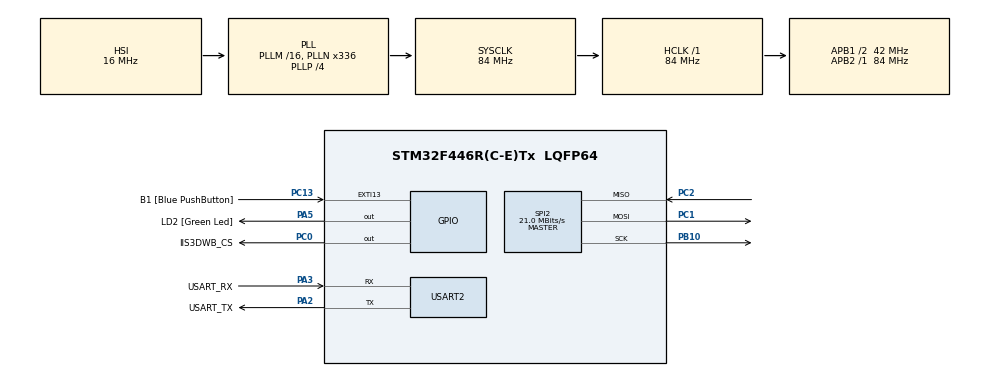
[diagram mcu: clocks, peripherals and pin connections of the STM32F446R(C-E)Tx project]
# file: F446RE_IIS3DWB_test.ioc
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Mcu.Family=STM32F4
Mcu.Name=STM32F446R(C-E)Tx
Mcu.Package=LQFP64
NVIC.PriorityGroup=NVIC_PRIORITYGROUP_0
PA13.GPIO_Label=TMS
PA13.Mode=Serial_Wire
PA13.Signal=SYS_JTMS-SWDIO
PA14.GPIO_Label=TCK
PA14.Mode=Serial_Wire
PA14.Signal=SYS_JTCK-SWCLK
PA2.GPIO_Label=USART_TX
PA2.Mode=Asynchronous
PA2.Signal=USART2_TX
PA3.GPIO_Label=USART_RX
PA3.Mode=Asynchronous
PA3.Signal=USART2_RX
PA5.GPIO_Label=LD2 [Green Led]
PA5.Signal=GPIO_Output
PB10.Mode=Full_Duplex_Master
PB10.Signal=SPI2_SCK
PB3.GPIO_Label=SWO
PB3.Signal=SYS_JTDO-SWO
PC0.GPIO_Label=IIS3DWB_CS
PC0.GPIO_ModeDefaultOutputPP=GPIO_MODE_OUTPUT_OD
PC0.GPIO_PuPd=GPIO_NOPULL
PC0.GPIO_Speed=GPIO_SPEED_FREQ_VERY_HIGH
PC0.PinState=GPIO_PIN_SET
PC0.Signal=GPIO_Output
PC1.Mode=Full_Duplex_Master
PC1.Signal=SPI2_MOSI
PC13.GPIO_Label=B1 [Blue PushButton]
PC13.GPIO_ModeDefaultEXTI=GPIO_MODE_IT_FALLING
PC13.Signal=GPXTI13
PC14-OSC32_IN.Mode=LSE-External-Oscillator
PC14-OSC32_IN.Signal=RCC_OSC32_IN
PC15-OSC32_OUT.Mode=LSE-External-Oscillator
PC15-OSC32_OUT.Signal=RCC_OSC32_OUT
PC2.Mode=Full_Duplex_Master
PC2.Signal=SPI2_MISO
PH0-OSC_IN.Mode=HSE-External-Oscillator
PH0-OSC_IN.Signal=RCC_OSC_IN
PH1-OSC_OUT.Mode=HSE-External-Oscillator
PH1-OSC_OUT.Signal=RCC_OSC_OUT
ProjectManager.HeapSize=0x200
ProjectManager.StackSize=0x400
ProjectManager.TargetToolchain=STM32CubeIDE
RCC.48MHZClocksFreq_Value=84000000
RCC.AHBFreq_Value=84000000
RCC.APB1CLKDivider=RCC_HCLK_DIV2
RCC.APB1Freq_Value=42000000
RCC.APB1TimFreq_Value=84000000
RCC.APB2Freq_Value=84000000
RCC.APB2TimFreq_Value=84000000
RCC.CortexFreq_Value=84000000
RCC.FLatency-AdvancedSettings=FLASH_LATENCY_2
RCC.HCLKFreq_Value=84000000
RCC.HSE_VALUE=8000000
RCC.HSI_VALUE=16000000
RCC.PLLN=336
RCC.PLLP=RCC_PLLP_DIV4
RCC.SYSCLKFreq_VALUE=84000000
RCC.SYSCLKSource=RCC_SYSCLKSOURCE_PLLCLK
RCC.USBFreq_Value=168000000
RCC.VCOOutputFreq_Value=336000000
SPI2.BaudRatePrescaler=SPI_BAUDRATEPRESCALER_2
SPI2.CLKPhase=SPI_PHASE_2EDGE
SPI2.CLKPolarity=SPI_POLARITY_LOW
SPI2.CalculateBaudRate=21.0 MBits/s
SPI2.Direction=SPI_DIRECTION_2LINES
SPI2.Mode=SPI_MODE_MASTER
SPI2.VirtualType=VM_MASTER
TIM13.Period=65536 - 1
TIM13.Prescaler=84 - 1
USART2.Parity=PARITY_EVEN
USART2.VirtualMode=VM_ASYNC
VP_TIM13_VS_ClockSourceINT.Mode=Enable_Timer
board=NUCLEO-F446RE

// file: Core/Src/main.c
/* USER CODE BEGIN Header */
/**
 ******************************************************************************
 * @file           : main.c
 * @brief          : Main program body
 ******************************************************************************
 * @attention
 *
 * Copyright (c) 2021 STMicroelectronics.
 * All rights reserved.
 *
 * This software is licensed under terms that can be found in the LICENSE file
 * in the root directory of this software component.
 * If no LICENSE file comes with this software, it is provided AS-IS.
 *
 ******************************************************************************
 */
/* USER CODE END Header */
#include "main.h"

/* USER CODE BEGIN Includes */

#include <string.h>
#include <stdio.h>

#define ARM_MATH_CM4
#include "arm_math.h"
#include "iis3dwb_reg.h"

/* USER CODE END Includes */

/* USER CODE BEGIN PM */
#define    BOOT_TIME        10 //ms

/* USER CODE END PM */

SPI_HandleTypeDef hspi2;

TIM_HandleTypeDef htim13;

UART_HandleTypeDef huart2;

/* USER CODE BEGIN PV */

static int16_t data_raw_acceleration[3];
static int16_t data_raw_temperature;
static float acceleration_mg[3];
static float temperature_degC;
static uint8_t whoamI, rst;
static uint8_t tx_buffer[1000];
char dev_id [8];

uint16_t rxBuf[16384];
uint16_t txBuf[16384];

char rxBufstr[16384];
char stringBuff[100];

float fft_in_buf[2048];
float fft_out_buf[2048];

arm_rfft_fast_instance_f32 fft_handler;

float real_fsample = 46875;
uint8_t callback_state = 0;
uint8_t outarray[14];
uint8_t uartfree = 1;

/* USER CODE END PV */

void SystemClock_Config(void);
static void MX_GPIO_Init(void);
static void MX_USART2_UART_Init(void);
static void MX_SPI2_Init(void);
static void MX_TIM13_Init(void);
/* USER CODE BEGIN PFP */

static int32_t platform_write(void *handle, uint8_t reg, const uint8_t *bufp,
		uint16_t len);
static int32_t platform_read(void *handle, uint8_t reg, uint8_t *bufp,
		uint16_t len);
static void tx_com( uint8_t *tx_buffer, uint16_t len );
static void tx_com_ziyad( uint8_t *tx_buffer, uint16_t len );
static void platform_delay(uint32_t ms);
static void platform_init(void);
void DoFFT();

/* USER CODE END PFP */

int main(void)
{
	/* USER CODE BEGIN 1 */
	char uart_buf[50];
	int uart_buf_len;
	uint16_t timer_val;

	/* USER CODE END 1 */

	/* MCU Configuration--------------------------------------------------------*/

	/* Reset of all peripherals, Initializes the Flash interface and the Systick. */
	HAL_Init();

	/* Configure the system clock */
	SystemClock_Config();

	/* Initialize all configured peripherals */
	MX_GPIO_Init();
	MX_USART2_UART_Init();
	MX_SPI2_Init();
	MX_TIM13_Init();
	/* USER CODE BEGIN 2 */

	HAL_UART_Transmit(&huart2, "\nInit ... \r\n", 10, 100);

	// Say something
	uart_buf_len = sprintf(uart_buf, "Timer test\r\n");
	HAL_UART_Transmit(&huart2, (uint8_t *)uart_buf, uart_buf_len, 100);

	// Start timer
	HAL_TIM_Base_Start(&htim13);

	stmdev_ctx_t dev_ctx;

	/* Initialize mems driver interface */
	dev_ctx.write_reg = platform_write;
	dev_ctx.read_reg = platform_read;
	dev_ctx.handle = &hspi2; //&SENSOR_BUS;

	/* Init test platform */
	platform_init();

	/* Wait sensor boot time */
	platform_delay(BOOT_TIME);

	/* Check device ID */
	iis3dwb_device_id_get(&dev_ctx, &whoamI);

	if (whoamI != IIS3DWB_ID)
		while (1);

	sprintf(dev_id, "%u", whoamI);

	HAL_UART_Transmit(&huart2, dev_id, 10, 100);

	HAL_Delay(50);

	/* Restore default configuration */
	iis3dwb_reset_set(&dev_ctx, PROPERTY_ENABLE);

	do {
		iis3dwb_reset_get(&dev_ctx, &rst);
	} while (rst);

	/* Enable Block Data Update */
	iis3dwb_block_data_update_set(&dev_ctx, PROPERTY_ENABLE);

	/* Set Output Data Rate */
	iis3dwb_xl_data_rate_set(&dev_ctx, IIS3DWB_XL_ODR_26k7Hz);

	/* Set full scale */
	iis3dwb_xl_full_scale_set(&dev_ctx, IIS3DWB_2g);

	/* Configure filtering chain(No aux interface)
	 * Accelerometer low pass filter path
	 */
	iis3dwb_xl_filt_path_on_out_set(&dev_ctx, IIS3DWB_LP_ODR_DIV_100);

	HAL_Delay(5000);

	arm_rfft_fast_init_f32(&fft_handler, 2048);

	/* USER CODE END 2 */

	/* Infinite loop */
	/* USER CODE BEGIN WHILE */

	while (1)
	{
		// Get current time (microseconds)
		timer_val = __HAL_TIM_GET_COUNTER(&htim13);

		uint8_t reg;

		/* Read output only if new xl value is available */
		iis3dwb_xl_flag_data_ready_get(&dev_ctx, &reg);

		if (reg) {
			/* Read acceleration field data */
			memset(data_raw_acceleration, 0x00, 3 * sizeof(int16_t));

			iis3dwb_acceleration_raw_get(&dev_ctx, data_raw_acceleration);

			acceleration_mg[0] =
					iis3dwb_from_fs2g_to_mg(data_raw_acceleration[0]);

			acceleration_mg[1] =
					iis3dwb_from_fs2g_to_mg(data_raw_acceleration[1]);

			acceleration_mg[2] =
					iis3dwb_from_fs2g_to_mg(data_raw_acceleration[2]);

			/*
			// Fill the buffer with "x axis" acceleration data
			for (int i = 0; i < 8192; ++i) {
				// Read acceleration field data
				memset(data_raw_acceleration, 0x00, 3 * sizeof(int16_t));

				iis3dwb_acceleration_raw_get(&dev_ctx, data_raw_acceleration);

				acceleration_mg[0] = iis3dwb_from_fs2g_to_mg(data_raw_acceleration[0]);
				rxBuf[i] = (int)acceleration_mg[0];
				callback_state = 1;
			}

			for (int i = 0; i < rxBuf[i]; ++i) {
				sprintf(&rxBufstr, "%d", rxBuf[i]);
				sprintf(&stringBuff, "%s %d", "\nAcceleration : ", rxBuf[i] );
				// HAL_UART_Transmit(&huart2, stringBuff, sizeof(rxBufstr), 100);
			}

			//do audio loopback and push mono-sum to fft_in_buf
			int fft_in_ptr = 0;
			if (callback_state == 1) {
				for (int i=0; i<8192; i=i+4) {
					fft_in_buf[fft_in_ptr] = (float) ((int) (rxBuf[i]<<16)|rxBuf[i+1]);
					fft_in_buf[fft_in_ptr] += (float) ((int) (rxBuf[i+2]<<16)|rxBuf[i+3]);
					txBuf[i] = rxBuf[i];
					txBuf[i+1] = rxBuf[i+1];
					txBuf[i+2] = rxBuf[i+2];
					txBuf[i+3] = rxBuf[i+3];
					fft_in_ptr++;
				}
				DoFFT();
			}

			if (callback_state == 2) {
				for (int i=8192; i<16384; i=i+4) {
					fft_in_buf[fft_in_ptr] = (float) ((int) (rxBuf[i]<<16)|rxBuf[i+1]);
					fft_in_buf[fft_in_ptr] += (float) ((int) (rxBuf[i+2]<<16)|rxBuf[i+3]);
					txBuf[i] = rxBuf[i];
					txBuf[i+1] = rxBuf[i+1];
					txBuf[i+2] = rxBuf[i+2];
					txBuf[i+3] = rxBuf[i+3];
					fft_in_ptr++;
				}
				DoFFT();
			}
*/
		}
/*
		// Display acceleration results
		sprintf((char *)tx_buffer,
				"\nAcceleration [mg] : %6.2f    %6.2f    %6.2f\r\n",
				acceleration_mg[0], acceleration_mg[1], acceleration_mg[2]);

		HAL_UART_AbortTransmit(&huart2);

		tx_com_ziyad(tx_buffer, strlen((char const *)tx_buffer));
*/
		/*
		// Display FFT results frame | it takes ~10 000 microseconds
		sprintf(stringBuff, "%s", "\n31-5Hz\t63 Hz\t125 Hz\t250 Hz\t500 Hz\t1 kHz\t2.2 kHz\t4.5 kHz\t9 kHz\t15 kHz\t");
		sprintf((char *)tx_buffer,
				"\nFFT : %d\t %d\t %d\t %d\t %d\t %d\t %d\t %d\t %d\t %d\r\n",
				outarray[0], //frame start
				outarray[1], //31-5Hz
				outarray[2], //63 Hz
				outarray[3], //125 Hz
				outarray[4], //250 Hz
				outarray[5], //500 Hz
				outarray[6], //1 kHz
				outarray[7], //2.2 kHz
				outarray[8], //4.5 kHz
				outarray[9], //9 kHz
				outarray[10] //15 kHz
		);
		tx_com_ziyad(&stringBuff, strlen(stringBuff));
		tx_com_ziyad(tx_buffer, strlen((char const *)tx_buffer));
		*/
/*
		iis3dwb_temp_flag_data_ready_get(&dev_ctx, &reg);

		if (reg) {
			// Read temperature data
			memset(&data_raw_temperature, 0x00, sizeof(int16_t));

			iis3dwb_temperature_raw_get(&dev_ctx, &data_raw_temperature);

			temperature_degC = iis3dwb_from_lsb_to_celsius(data_raw_temperature);

			sprintf((char *)tx_buffer,
					"\nTemperature [degC] : %6.2f\r\n", temperature_degC);

			tx_com_ziyad(tx_buffer, strlen((char const *)tx_buffer));

		}
*/
		// Get elapsed time
		timer_val = __HAL_TIM_GET_COUNTER(&htim13) - timer_val;

		// Print elapsed time
		uart_buf_len = sprintf(uart_buf, "%u microseconds \r\n", timer_val);
		HAL_UART_Transmit(&huart2, (uint8_t *)uart_buf, uart_buf_len, 100);

		// HAL_Delay(1000);
		/* USER CODE END WHILE */

	}
}

void SystemClock_Config(void)
{
	RCC_OscInitTypeDef RCC_OscInitStruct = {0};
	RCC_ClkInitTypeDef RCC_ClkInitStruct = {0};

	/** Configure the main internal regulator output voltage
	 */
	__HAL_RCC_PWR_CLK_ENABLE();
	__HAL_PWR_VOLTAGESCALING_CONFIG(PWR_REGULATOR_VOLTAGE_SCALE3);
	/** Initializes the RCC Oscillators according to the specified parameters
	 * in the RCC_OscInitTypeDef structure.
	 */
	RCC_OscInitStruct.OscillatorType = RCC_OSCILLATORTYPE_HSI;
	RCC_OscInitStruct.HSIState = RCC_HSI_ON;
	RCC_OscInitStruct.HSICalibrationValue = RCC_HSICALIBRATION_DEFAULT;
	RCC_OscInitStruct.PLL.PLLState = RCC_PLL_ON;
	RCC_OscInitStruct.PLL.PLLSource = RCC_PLLSOURCE_HSI;
	RCC_OscInitStruct.PLL.PLLM = 16;
	RCC_OscInitStruct.PLL.PLLN = 336;
	RCC_OscInitStruct.PLL.PLLP = RCC_PLLP_DIV4;
	RCC_OscInitStruct.PLL.PLLQ = 2;
	RCC_OscInitStruct.PLL.PLLR = 2;
	if (HAL_RCC_OscConfig(&RCC_OscInitStruct) != HAL_OK)
	{
		Error_Handler();
	}
	/** Initializes the CPU, AHB and APB buses clocks
	 */
	RCC_ClkInitStruct.ClockType = RCC_CLOCKTYPE_HCLK|RCC_CLOCKTYPE_SYSCLK
			|RCC_CLOCKTYPE_PCLK1|RCC_CLOCKTYPE_PCLK2;
	RCC_ClkInitStruct.SYSCLKSource = RCC_SYSCLKSOURCE_PLLCLK;
	RCC_ClkInitStruct.AHBCLKDivider = RCC_SYSCLK_DIV1;
	RCC_ClkInitStruct.APB1CLKDivider = RCC_HCLK_DIV2;
	RCC_ClkInitStruct.APB2CLKDivider = RCC_HCLK_DIV1;

	if (HAL_RCC_ClockConfig(&RCC_ClkInitStruct, FLASH_LATENCY_2) != HAL_OK)
	{
		Error_Handler();
	}
}

static void MX_SPI2_Init(void)
{

	/* SPI2 parameter configuration*/
	hspi2.Instance = SPI2;
	hspi2.Init.Mode = SPI_MODE_MASTER;
	hspi2.Init.Direction = SPI_DIRECTION_2LINES;
	hspi2.Init.DataSize = SPI_DATASIZE_8BIT;
	hspi2.Init.CLKPolarity = SPI_POLARITY_LOW;
	hspi2.Init.CLKPhase = SPI_PHASE_2EDGE;
	hspi2.Init.NSS = SPI_NSS_SOFT;
	hspi2.Init.BaudRatePrescaler = SPI_BAUDRATEPRESCALER_2;
	hspi2.Init.FirstBit = SPI_FIRSTBIT_MSB;
	hspi2.Init.TIMode = SPI_TIMODE_DISABLE;
	hspi2.Init.CRCCalculation = SPI_CRCCALCULATION_DISABLE;
	hspi2.Init.CRCPolynomial = 10;
	if (HAL_SPI_Init(&hspi2) != HAL_OK)
	{
		Error_Handler();
	}

}

static void MX_TIM13_Init(void)
{

	htim13.Instance = TIM13;
	htim13.Init.Prescaler = 84 - 1;
	htim13.Init.CounterMode = TIM_COUNTERMODE_UP;
	htim13.Init.Period = 65536 - 1;
	htim13.Init.ClockDivision = TIM_CLOCKDIVISION_DIV1;
	htim13.Init.AutoReloadPreload = TIM_AUTORELOAD_PRELOAD_DISABLE;
	if (HAL_TIM_Base_Init(&htim13) != HAL_OK)
	{
		Error_Handler();
	}

}

static void MX_USART2_UART_Init(void)
{

	huart2.Instance = USART2;
	huart2.Init.BaudRate = 115200;
	huart2.Init.WordLength = UART_WORDLENGTH_8B;
	huart2.Init.StopBits = UART_STOPBITS_1;
	huart2.Init.Parity = UART_PARITY_EVEN;
	huart2.Init.Mode = UART_MODE_TX_RX;
	huart2.Init.HwFlowCtl = UART_HWCONTROL_NONE;
	huart2.Init.OverSampling = UART_OVERSAMPLING_16;
	if (HAL_UART_Init(&huart2) != HAL_OK)
	{
		Error_Handler();
	}

}

static void MX_GPIO_Init(void)
{
	GPIO_InitTypeDef GPIO_InitStruct = {0};

	/* GPIO Ports Clock Enable */
	__HAL_RCC_GPIOC_CLK_ENABLE();
	__HAL_RCC_GPIOH_CLK_ENABLE();
	__HAL_RCC_GPIOA_CLK_ENABLE();
	__HAL_RCC_GPIOB_CLK_ENABLE();

	/*Configure GPIO pin Output Level */
	HAL_GPIO_WritePin(IIS3DWB_CS_GPIO_Port, IIS3DWB_CS_Pin, GPIO_PIN_SET);

	/*Configure GPIO pin Output Level */
	HAL_GPIO_WritePin(LD2_GPIO_Port, LD2_Pin, GPIO_PIN_RESET);

	/*Configure GPIO pin : B1_Pin */
	GPIO_InitStruct.Pin = B1_Pin;
	GPIO_InitStruct.Mode = GPIO_MODE_IT_FALLING;
	GPIO_InitStruct.Pull = GPIO_NOPULL;
	HAL_GPIO_Init(B1_GPIO_Port, &GPIO_InitStruct);

	/*Configure GPIO pin : IIS3DWB_CS_Pin */
	GPIO_InitStruct.Pin = IIS3DWB_CS_Pin;
	GPIO_InitStruct.Mode = GPIO_MODE_OUTPUT_OD;
	GPIO_InitStruct.Pull = GPIO_NOPULL;
	GPIO_InitStruct.Speed = GPIO_SPEED_FREQ_VERY_HIGH;
	HAL_GPIO_Init(IIS3DWB_CS_GPIO_Port, &GPIO_InitStruct);

	/*Configure GPIO pin : LD2_Pin */
	GPIO_InitStruct.Pin = LD2_Pin;
	GPIO_InitStruct.Mode = GPIO_MODE_OUTPUT_PP;
	GPIO_InitStruct.Pull = GPIO_NOPULL;
	GPIO_InitStruct.Speed = GPIO_SPEED_FREQ_LOW;
	HAL_GPIO_Init(LD2_GPIO_Port, &GPIO_InitStruct);

}

/* USER CODE BEGIN 4 */

/*
 * @brief  Write generic device register (platform dependent)
 *
 * @param  handle    customizable argument. In this examples is used in
 *                   order to select the correct sensor bus handler.
 * @param  reg       register to write
 * @param  bufp      pointer to data to write in register reg
 * @param  len       number of consecutive register to write
 *
 */
static int32_t platform_write(void *handle, uint8_t reg, const uint8_t *bufp,
		uint16_t len)
{
	if (handle == &hspi2) {
		HAL_GPIO_WritePin(IIS3DWB_CS_GPIO_Port, IIS3DWB_CS_Pin, GPIO_PIN_RESET);
		HAL_SPI_Transmit(handle, &reg, 1, 1000);
		HAL_SPI_Transmit(handle, (uint8_t*) bufp, len, 1000);
		HAL_GPIO_WritePin(IIS3DWB_CS_GPIO_Port, IIS3DWB_CS_Pin, GPIO_PIN_SET);
	}
	return 0;
}

/*
 * @brief  Read generic device register (platform dependent)
 *
 * @param  handle    customizable argument. In this examples is used in
 *                   order to select the correct sensor bus handler.
 * @param  reg       register to read
 * @param  bufp      pointer to buffer that store the data read
 * @param  len       number of consecutive register to read
 *
 */
static int32_t platform_read(void *handle, uint8_t reg, uint8_t *bufp,
		uint16_t len)
{
	if (handle == &hspi2) {
		/* Read command */
		reg |= 0x80;
		HAL_GPIO_WritePin(IIS3DWB_CS_GPIO_Port, IIS3DWB_CS_Pin, GPIO_PIN_RESET);
		HAL_SPI_Transmit(handle, &reg, 1, 1000);
		HAL_SPI_Receive(handle, bufp, len, 1000);
		HAL_GPIO_WritePin(IIS3DWB_CS_GPIO_Port, IIS3DWB_CS_Pin, GPIO_PIN_SET);
	}
	return 0;
}

/*
 * @brief  Send buffer to console (platform dependent)
 *
 * @param  tx_buffer     buffer to transmit
 * @param  len           number of byte to send
 *
 */
static void tx_com(uint8_t *tx_buffer, uint16_t len)
{
#ifdef STEVAL_MKI109V3
	CDC_Transmit_FS(tx_buffer, len);
#elif defined(SPC584B_DIS)
	sd_lld_write(&SD2, tx_buffer, len);
#endif
}

/*
 * @brief  Send buffer to console (platform dependent)
 *
 * @param  tx_buffer     buffer to transmit
 * @param  len           number of byte to send
 *
 */
static void tx_com_ziyad(uint8_t *tx_buffer, uint16_t len)
{
	if (HAL_UART_Transmit(&huart2, tx_buffer, len, HAL_MAX_DELAY) != HAL_OK)
		Error_Handler();
}

/*
 * @brief  platform specific delay (platform dependent)
 *
 * @param  ms        delay in ms
 *
 */
static void platform_delay(uint32_t ms)
{
	HAL_Delay(ms);
}

/*
 * @brief  platform specific initialization (platform dependent)
 */
static void platform_init(void)
{
#if defined(STEVAL_MKI109V3)
	TIM3->CCR1 = PWM_3V3;
	TIM3->CCR2 = PWM_3V3;
	HAL_TIM_PWM_Start(&htim3, TIM_CHANNEL_1);
	HAL_TIM_PWM_Start(&htim3, TIM_CHANNEL_2);
	HAL_Delay(1000);
#endif
}

float complexABS(float real, float compl) {
	return sqrtf(real*real+compl*compl);
}

void DoFFT() {
	//Do FFT
	arm_rfft_fast_f32(&fft_handler, &fft_in_buf,&fft_out_buf,0);

	int freqs[1024];
	int freqpoint = 0;
	int offset = 150; //variable noisefloor offset

	//calculate abs values and linear-to-dB
	for (int i=0; i<2048; i=i+2) {
		freqs[freqpoint] = (int)(20*log10f(complexABS(fft_out_buf[i], fft_out_buf[i+1])))-offset;
		if (freqs[freqpoint]<0) freqs[freqpoint]=0;
		freqpoint++;
	}

	//push out data to Uart
	outarray[0] = 0xff; //frame start
	outarray[1] = (uint8_t)freqs[1]; //31-5Hz
	outarray[2] = (uint8_t)freqs[3]; //63 Hz
	outarray[3] = (uint8_t)freqs[5]; //125 Hz
	outarray[4] = (uint8_t)freqs[11]; //250 Hz
	outarray[5] = (uint8_t)freqs[22]; //500 Hz
	outarray[6] = (uint8_t)freqs[44]; //1 kHz
	outarray[7] = (uint8_t)freqs[96]; //2.2 kHz
	outarray[8] = (uint8_t)freqs[197]; //4.5 kHz
	outarray[9] = (uint8_t)freqs[393]; //9 kHz
	outarray[10] = (uint8_t)freqs[655]; //15 lHz

	if (uartfree==1) HAL_UART_Transmit_DMA(&huart2, &outarray[0], 11);
	uartfree = 0;
	callback_state=0;

}

/* USER CODE END 4 */

void Error_Handler(void)
{
	__disable_irq();
	while (1)
	{
	}
}
